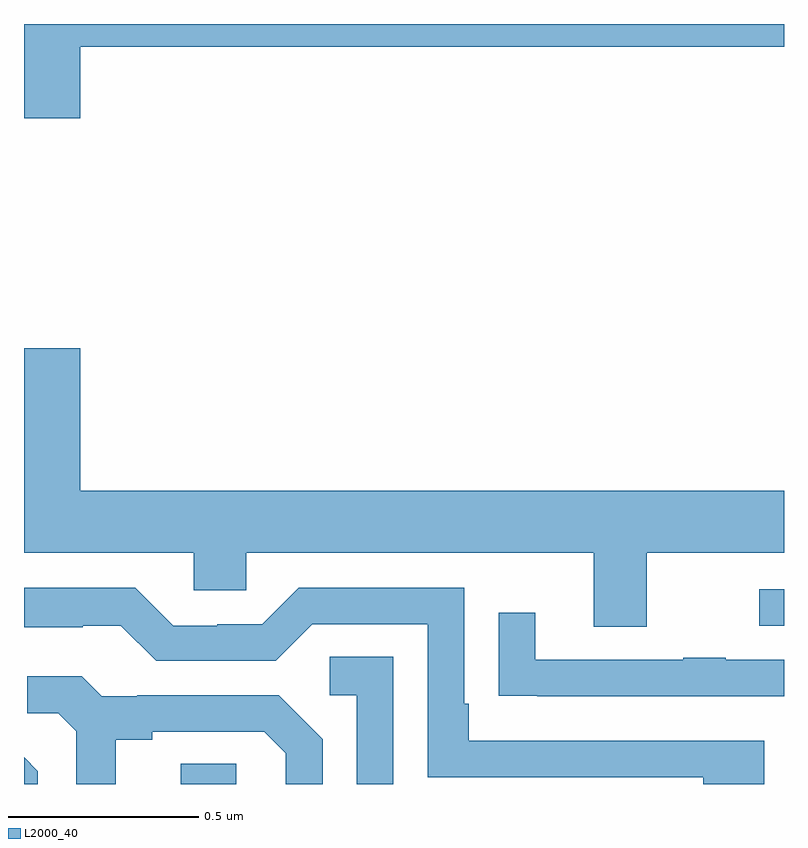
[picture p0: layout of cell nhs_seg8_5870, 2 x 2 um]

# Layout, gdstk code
import gdstk
lib = gdstk.Library(unit=1e-6, precision=1e-09)
def R(c, l, rs):  # rectangles x0, y0, x1, y1
    for r in rs: c.add(gdstk.rectangle(r[:2], r[2:], *l))
def P(c, l, *ps):  # polygons
    for p in ps: c.add(gdstk.Polygon(p, *l))
L2000_40 = (2000, 40)

nhs_seg8_5870 = lib.new_cell('nhs_seg8_5870')
R(nhs_seg8_5870, L2000_40, [(189.413,1107.9,189.558,1107.953), (190.935,1108.317,191,1108.413)])
P(nhs_seg8_5870, L2000_40, [(191,1109.9),(189,1109.9),(189,1109.652),(189.148,1109.652),(189.148,1109.84),(191,1109.84)],
  [(190.639,1108.508),(191,1108.508),(191,1108.672),(189.148,1108.672),(189.148,1109.047),(189,1109.047),(189,1108.508),(189.447,1108.508),(189.447,1108.41),(189.585,1108.41),(189.585,1108.508),(190.499,1108.508),(190.499,1108.314),(190.639,1108.314)],
  [(190.948,1108.014),(190.171,1108.014),(190.171,1108.111),(190.158,1108.111),(190.158,1108.416),(189.723,1108.416),(189.627,1108.32),(189.509,1108.32),(189.509,1108.317),(189.393,1108.317),(189.293,1108.417),(189,1108.417),(189,1108.313),(189.155,1108.313),(189.155,1108.317),(189.255,1108.317),(189.348,1108.224),(189.663,1108.224),(189.759,1108.32),(190.062,1108.32),(190.062,1107.918),(190.787,1107.918),(190.787,1107.9),(190.948,1107.9)],
  [(191,1108.227),(190.847,1108.227),(190.847,1108.232),(190.735,1108.232),(190.735,1108.227),(190.345,1108.227),(190.345,1108.351),(190.249,1108.351),(190.249,1108.132),(190.351,1108.132),(190.351,1108.131),(191,1108.131)],
  [(189.972,1108.235),(189.804,1108.235),(189.804,1108.134),(189.876,1108.134),(189.876,1107.9),(189.972,1107.9)],
  [(189.241,1108.016),(189.337,1108.016),(189.337,1108.038),(189.632,1108.038),(189.689,1107.981),(189.689,1107.9),(189.786,1107.9),(189.786,1108.018),(189.67,1108.134),(189.298,1108.134),(189.298,1108.131),(189.204,1108.131),(189.152,1108.183),(189.009,1108.183),(189.009,1108.086),(189.09,1108.086),(189.137,1108.039),(189.137,1107.9),(189.241,1107.9)],
  [(189.036,1107.934),(189,1107.97),(189,1107.9),(189.036,1107.9)])

lib.write_gds('nhs_seg8_5870.gds')
